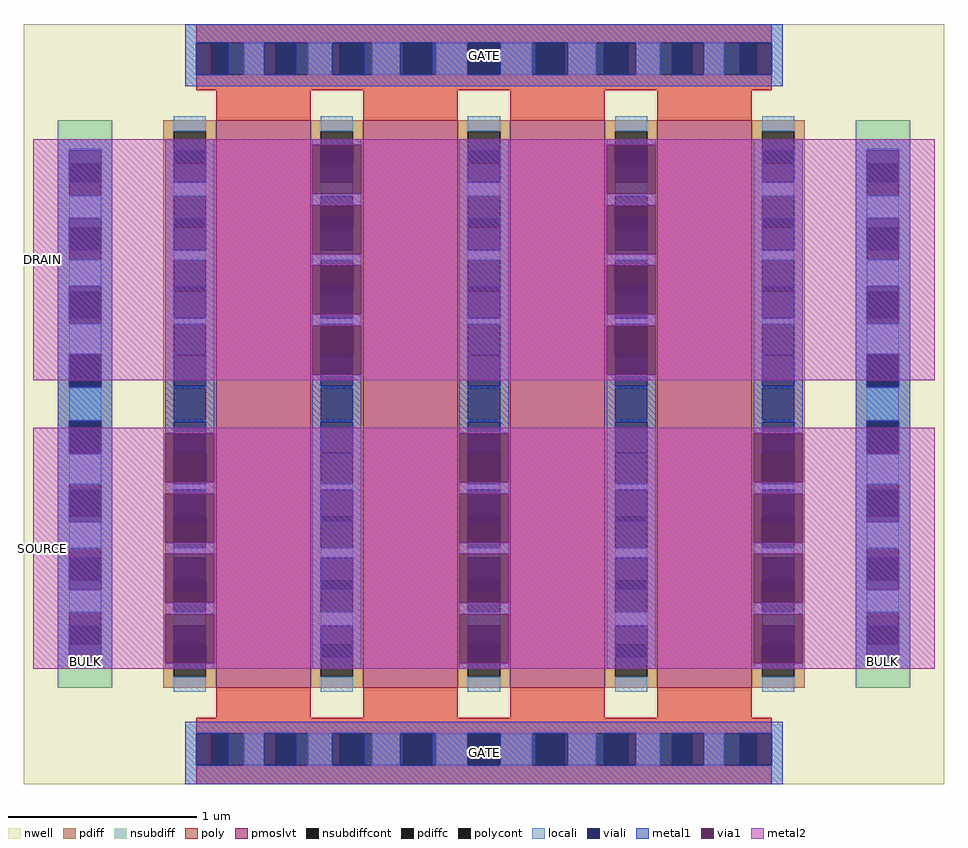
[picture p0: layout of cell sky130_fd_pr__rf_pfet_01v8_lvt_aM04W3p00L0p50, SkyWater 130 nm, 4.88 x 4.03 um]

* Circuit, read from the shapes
.subckt sky130_fd_pr__rf_pfet_01v8_lvt_aM04W3p00L0p50 BULK DRAIN GATE SOURCE
XM1 DRAIN GATE SOURCE BULK sky130_fd_pr__pfet_01v8_lvt w=3.01 l=0.5 m=4
.ends

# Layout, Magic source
magic
tech sky130A
magscale 1 2
<< nwell >>
rect 0 0 976 806
<< pmoslvt >>
rect 204 102 304 704
rect 360 102 460 704
rect 516 102 616 704
rect 672 102 772 704
<< pdiff >>
rect 148 692 204 704
rect 148 658 159 692
rect 193 658 204 692
rect 148 624 204 658
rect 148 590 159 624
rect 193 590 204 624
rect 148 556 204 590
rect 148 522 159 556
rect 193 522 204 556
rect 148 488 204 522
rect 148 454 159 488
rect 193 454 204 488
rect 148 420 204 454
rect 148 386 159 420
rect 193 386 204 420
rect 148 352 204 386
rect 148 318 159 352
rect 193 318 204 352
rect 148 284 204 318
rect 148 250 159 284
rect 193 250 204 284
rect 148 216 204 250
rect 148 182 159 216
rect 193 182 204 216
rect 148 148 204 182
rect 148 114 159 148
rect 193 114 204 148
rect 148 102 204 114
rect 304 692 360 704
rect 304 658 315 692
rect 349 658 360 692
rect 304 624 360 658
rect 304 590 315 624
rect 349 590 360 624
rect 304 556 360 590
rect 304 522 315 556
rect 349 522 360 556
rect 304 488 360 522
rect 304 454 315 488
rect 349 454 360 488
rect 304 420 360 454
rect 304 386 315 420
rect 349 386 360 420
rect 304 352 360 386
rect 304 318 315 352
rect 349 318 360 352
rect 304 284 360 318
rect 304 250 315 284
rect 349 250 360 284
rect 304 216 360 250
rect 304 182 315 216
rect 349 182 360 216
rect 304 148 360 182
rect 304 114 315 148
rect 349 114 360 148
rect 304 102 360 114
rect 460 692 516 704
rect 460 658 471 692
rect 505 658 516 692
rect 460 624 516 658
rect 460 590 471 624
rect 505 590 516 624
rect 460 556 516 590
rect 460 522 471 556
rect 505 522 516 556
rect 460 488 516 522
rect 460 454 471 488
rect 505 454 516 488
rect 460 420 516 454
rect 460 386 471 420
rect 505 386 516 420
rect 460 352 516 386
rect 460 318 471 352
rect 505 318 516 352
rect 460 284 516 318
rect 460 250 471 284
rect 505 250 516 284
rect 460 216 516 250
rect 460 182 471 216
rect 505 182 516 216
rect 460 148 516 182
rect 460 114 471 148
rect 505 114 516 148
rect 460 102 516 114
rect 616 692 672 704
rect 616 658 627 692
rect 661 658 672 692
rect 616 624 672 658
rect 616 590 627 624
rect 661 590 672 624
rect 616 556 672 590
rect 616 522 627 556
rect 661 522 672 556
rect 616 488 672 522
rect 616 454 627 488
rect 661 454 672 488
rect 616 420 672 454
rect 616 386 627 420
rect 661 386 672 420
rect 616 352 672 386
rect 616 318 627 352
rect 661 318 672 352
rect 616 284 672 318
rect 616 250 627 284
rect 661 250 672 284
rect 616 216 672 250
rect 616 182 627 216
rect 661 182 672 216
rect 616 148 672 182
rect 616 114 627 148
rect 661 114 672 148
rect 616 102 672 114
rect 772 692 828 704
rect 772 658 783 692
rect 817 658 828 692
rect 772 624 828 658
rect 772 590 783 624
rect 817 590 828 624
rect 772 556 828 590
rect 772 522 783 556
rect 817 522 828 556
rect 772 488 828 522
rect 772 454 783 488
rect 817 454 828 488
rect 772 420 828 454
rect 772 386 783 420
rect 817 386 828 420
rect 772 352 828 386
rect 772 318 783 352
rect 817 318 828 352
rect 772 284 828 318
rect 772 250 783 284
rect 817 250 828 284
rect 772 216 828 250
rect 772 182 783 216
rect 817 182 828 216
rect 772 148 828 182
rect 772 114 783 148
rect 817 114 828 148
rect 772 102 828 114
<< pdiffc >>
rect 159 658 193 692
rect 159 590 193 624
rect 159 522 193 556
rect 159 454 193 488
rect 159 386 193 420
rect 159 318 193 352
rect 159 250 193 284
rect 159 182 193 216
rect 159 114 193 148
rect 315 658 349 692
rect 315 590 349 624
rect 315 522 349 556
rect 315 454 349 488
rect 315 386 349 420
rect 315 318 349 352
rect 315 250 349 284
rect 315 182 349 216
rect 315 114 349 148
rect 471 658 505 692
rect 471 590 505 624
rect 471 522 505 556
rect 471 454 505 488
rect 471 386 505 420
rect 471 318 505 352
rect 471 250 505 284
rect 471 182 505 216
rect 471 114 505 148
rect 627 658 661 692
rect 627 590 661 624
rect 627 522 661 556
rect 627 454 661 488
rect 627 386 661 420
rect 627 318 661 352
rect 627 250 661 284
rect 627 182 661 216
rect 627 114 661 148
rect 783 658 817 692
rect 783 590 817 624
rect 783 522 817 556
rect 783 454 817 488
rect 783 386 817 420
rect 783 318 817 352
rect 783 250 817 284
rect 783 182 817 216
rect 783 114 817 148
<< nsubdiff >>
rect 36 658 94 704
rect 36 624 48 658
rect 82 624 94 658
rect 36 590 94 624
rect 36 556 48 590
rect 82 556 94 590
rect 36 522 94 556
rect 36 488 48 522
rect 82 488 94 522
rect 36 454 94 488
rect 36 420 48 454
rect 82 420 94 454
rect 36 386 94 420
rect 36 352 48 386
rect 82 352 94 386
rect 36 318 94 352
rect 36 284 48 318
rect 82 284 94 318
rect 36 250 94 284
rect 36 216 48 250
rect 82 216 94 250
rect 36 182 94 216
rect 36 148 48 182
rect 82 148 94 182
rect 36 102 94 148
rect 882 658 940 704
rect 882 624 894 658
rect 928 624 940 658
rect 882 590 940 624
rect 882 556 894 590
rect 928 556 940 590
rect 882 522 940 556
rect 882 488 894 522
rect 928 488 940 522
rect 882 454 940 488
rect 882 420 894 454
rect 928 420 940 454
rect 882 386 940 420
rect 882 352 894 386
rect 928 352 940 386
rect 882 318 940 352
rect 882 284 894 318
rect 928 284 940 318
rect 882 250 940 284
rect 882 216 894 250
rect 928 216 940 250
rect 882 182 940 216
rect 882 148 894 182
rect 928 148 940 182
rect 882 102 940 148
<< nsubdiffcont >>
rect 48 624 82 658
rect 48 556 82 590
rect 48 488 82 522
rect 48 420 82 454
rect 48 352 82 386
rect 48 284 82 318
rect 48 216 82 250
rect 48 148 82 182
rect 894 624 928 658
rect 894 556 928 590
rect 894 488 928 522
rect 894 420 928 454
rect 894 352 928 386
rect 894 284 928 318
rect 894 216 928 250
rect 894 148 928 182
<< poly >>
rect 183 786 793 806
rect 183 752 199 786
rect 233 752 267 786
rect 301 752 335 786
rect 369 752 403 786
rect 437 752 471 786
rect 505 752 539 786
rect 573 752 607 786
rect 641 752 675 786
rect 709 752 743 786
rect 777 752 793 786
rect 183 736 793 752
rect 204 704 304 736
rect 360 704 460 736
rect 516 704 616 736
rect 672 704 772 736
rect 204 70 304 102
rect 360 70 460 102
rect 516 70 616 102
rect 672 70 772 102
rect 183 54 793 70
rect 183 20 199 54
rect 233 20 267 54
rect 301 20 335 54
rect 369 20 403 54
rect 437 20 471 54
rect 505 20 539 54
rect 573 20 607 54
rect 641 20 675 54
rect 709 20 743 54
rect 777 20 793 54
rect 183 0 793 20
<< polycont >>
rect 199 752 233 786
rect 267 752 301 786
rect 335 752 369 786
rect 403 752 437 786
rect 471 752 505 786
rect 539 752 573 786
rect 607 752 641 786
rect 675 752 709 786
rect 743 752 777 786
rect 199 20 233 54
rect 267 20 301 54
rect 335 20 369 54
rect 403 20 437 54
rect 471 20 505 54
rect 539 20 573 54
rect 607 20 641 54
rect 675 20 709 54
rect 743 20 777 54
<< locali >>
rect 233 752 255 786
rect 301 752 327 786
rect 369 752 399 786
rect 437 752 471 786
rect 505 752 539 786
rect 577 752 607 786
rect 649 752 675 786
rect 721 752 743 786
rect 159 692 193 708
rect 48 672 82 674
rect 48 600 82 624
rect 48 528 82 556
rect 48 456 82 488
rect 48 386 82 420
rect 48 318 82 350
rect 48 250 82 278
rect 48 182 82 206
rect 48 132 82 134
rect 159 624 193 638
rect 159 556 193 566
rect 159 488 193 494
rect 159 420 193 422
rect 159 384 193 386
rect 159 312 193 318
rect 159 240 193 250
rect 159 168 193 182
rect 159 98 193 114
rect 315 692 349 708
rect 315 624 349 638
rect 315 556 349 566
rect 315 488 349 494
rect 315 420 349 422
rect 315 384 349 386
rect 315 312 349 318
rect 315 240 349 250
rect 315 168 349 182
rect 315 98 349 114
rect 471 692 505 708
rect 471 624 505 638
rect 471 556 505 566
rect 471 488 505 494
rect 471 420 505 422
rect 471 384 505 386
rect 471 312 505 318
rect 471 240 505 250
rect 471 168 505 182
rect 471 98 505 114
rect 627 692 661 708
rect 627 624 661 638
rect 627 556 661 566
rect 627 488 661 494
rect 627 420 661 422
rect 627 384 661 386
rect 627 312 661 318
rect 627 240 661 250
rect 627 168 661 182
rect 627 98 661 114
rect 783 692 817 708
rect 783 624 817 638
rect 783 556 817 566
rect 783 488 817 494
rect 783 420 817 422
rect 783 384 817 386
rect 783 312 817 318
rect 783 240 817 250
rect 783 168 817 182
rect 894 672 928 674
rect 894 600 928 624
rect 894 528 928 556
rect 894 456 928 488
rect 894 386 928 420
rect 894 318 928 350
rect 894 250 928 278
rect 894 182 928 206
rect 894 132 928 134
rect 783 98 817 114
rect 233 20 255 54
rect 301 20 327 54
rect 369 20 399 54
rect 437 20 471 54
rect 505 20 539 54
rect 577 20 607 54
rect 649 20 675 54
rect 721 20 743 54
<< viali >>
rect 183 752 199 786
rect 199 752 217 786
rect 255 752 267 786
rect 267 752 289 786
rect 327 752 335 786
rect 335 752 361 786
rect 399 752 403 786
rect 403 752 433 786
rect 471 752 505 786
rect 543 752 573 786
rect 573 752 577 786
rect 615 752 641 786
rect 641 752 649 786
rect 687 752 709 786
rect 709 752 721 786
rect 759 752 777 786
rect 777 752 793 786
rect 48 658 82 672
rect 48 638 82 658
rect 48 590 82 600
rect 48 566 82 590
rect 48 522 82 528
rect 48 494 82 522
rect 48 454 82 456
rect 48 422 82 454
rect 48 352 82 384
rect 48 350 82 352
rect 48 284 82 312
rect 48 278 82 284
rect 48 216 82 240
rect 48 206 82 216
rect 48 148 82 168
rect 48 134 82 148
rect 159 658 193 672
rect 159 638 193 658
rect 159 590 193 600
rect 159 566 193 590
rect 159 522 193 528
rect 159 494 193 522
rect 159 454 193 456
rect 159 422 193 454
rect 159 352 193 384
rect 159 350 193 352
rect 159 284 193 312
rect 159 278 193 284
rect 159 216 193 240
rect 159 206 193 216
rect 159 148 193 168
rect 159 134 193 148
rect 315 658 349 672
rect 315 638 349 658
rect 315 590 349 600
rect 315 566 349 590
rect 315 522 349 528
rect 315 494 349 522
rect 315 454 349 456
rect 315 422 349 454
rect 315 352 349 384
rect 315 350 349 352
rect 315 284 349 312
rect 315 278 349 284
rect 315 216 349 240
rect 315 206 349 216
rect 315 148 349 168
rect 315 134 349 148
rect 471 658 505 672
rect 471 638 505 658
rect 471 590 505 600
rect 471 566 505 590
rect 471 522 505 528
rect 471 494 505 522
rect 471 454 505 456
rect 471 422 505 454
rect 471 352 505 384
rect 471 350 505 352
rect 471 284 505 312
rect 471 278 505 284
rect 471 216 505 240
rect 471 206 505 216
rect 471 148 505 168
rect 471 134 505 148
rect 627 658 661 672
rect 627 638 661 658
rect 627 590 661 600
rect 627 566 661 590
rect 627 522 661 528
rect 627 494 661 522
rect 627 454 661 456
rect 627 422 661 454
rect 627 352 661 384
rect 627 350 661 352
rect 627 284 661 312
rect 627 278 661 284
rect 627 216 661 240
rect 627 206 661 216
rect 627 148 661 168
rect 627 134 661 148
rect 783 658 817 672
rect 783 638 817 658
rect 783 590 817 600
rect 783 566 817 590
rect 783 522 817 528
rect 783 494 817 522
rect 783 454 817 456
rect 783 422 817 454
rect 783 352 817 384
rect 783 350 817 352
rect 783 284 817 312
rect 783 278 817 284
rect 783 216 817 240
rect 783 206 817 216
rect 783 148 817 168
rect 783 134 817 148
rect 894 658 928 672
rect 894 638 928 658
rect 894 590 928 600
rect 894 566 928 590
rect 894 522 928 528
rect 894 494 928 522
rect 894 454 928 456
rect 894 422 928 454
rect 894 352 928 384
rect 894 350 928 352
rect 894 284 928 312
rect 894 278 928 284
rect 894 216 928 240
rect 894 206 928 216
rect 894 148 928 168
rect 894 134 928 148
rect 183 20 199 54
rect 199 20 217 54
rect 255 20 267 54
rect 267 20 289 54
rect 327 20 335 54
rect 335 20 361 54
rect 399 20 403 54
rect 403 20 433 54
rect 471 20 505 54
rect 543 20 573 54
rect 573 20 577 54
rect 615 20 641 54
rect 641 20 649 54
rect 687 20 709 54
rect 709 20 721 54
rect 759 20 777 54
rect 777 20 793 54
<< metal1 >>
rect 171 786 805 806
rect 171 752 183 786
rect 217 752 255 786
rect 289 752 327 786
rect 361 752 399 786
rect 433 752 471 786
rect 505 752 543 786
rect 577 752 615 786
rect 649 752 687 786
rect 721 752 759 786
rect 793 752 805 786
rect 171 740 805 752
rect 36 672 94 684
rect 36 638 48 672
rect 82 638 94 672
rect 36 600 94 638
rect 36 566 48 600
rect 82 566 94 600
rect 36 528 94 566
rect 36 494 48 528
rect 82 494 94 528
rect 36 456 94 494
rect 36 422 48 456
rect 82 422 94 456
rect 36 384 94 422
rect 36 350 48 384
rect 82 350 94 384
rect 36 312 94 350
rect 36 278 48 312
rect 82 278 94 312
rect 36 240 94 278
rect 36 206 48 240
rect 82 206 94 240
rect 36 168 94 206
rect 36 134 48 168
rect 82 134 94 168
rect 36 122 94 134
rect 150 672 202 684
rect 150 638 159 672
rect 193 638 202 672
rect 150 600 202 638
rect 150 566 159 600
rect 193 566 202 600
rect 150 528 202 566
rect 150 494 159 528
rect 193 494 202 528
rect 150 456 202 494
rect 150 422 159 456
rect 193 422 202 456
rect 150 384 202 422
rect 150 372 159 384
rect 193 372 202 384
rect 150 312 202 320
rect 150 308 159 312
rect 193 308 202 312
rect 150 244 202 256
rect 150 180 202 192
rect 150 122 202 128
rect 306 678 358 684
rect 306 614 358 626
rect 306 550 358 562
rect 306 494 315 498
rect 349 494 358 498
rect 306 486 358 494
rect 306 422 315 434
rect 349 422 358 434
rect 306 384 358 422
rect 306 350 315 384
rect 349 350 358 384
rect 306 312 358 350
rect 306 278 315 312
rect 349 278 358 312
rect 306 240 358 278
rect 306 206 315 240
rect 349 206 358 240
rect 306 168 358 206
rect 306 134 315 168
rect 349 134 358 168
rect 306 122 358 134
rect 462 672 514 684
rect 462 638 471 672
rect 505 638 514 672
rect 462 600 514 638
rect 462 566 471 600
rect 505 566 514 600
rect 462 528 514 566
rect 462 494 471 528
rect 505 494 514 528
rect 462 456 514 494
rect 462 422 471 456
rect 505 422 514 456
rect 462 384 514 422
rect 462 372 471 384
rect 505 372 514 384
rect 462 312 514 320
rect 462 308 471 312
rect 505 308 514 312
rect 462 244 514 256
rect 462 180 514 192
rect 462 122 514 128
rect 618 678 670 684
rect 618 614 670 626
rect 618 550 670 562
rect 618 494 627 498
rect 661 494 670 498
rect 618 486 670 494
rect 618 422 627 434
rect 661 422 670 434
rect 618 384 670 422
rect 618 350 627 384
rect 661 350 670 384
rect 618 312 670 350
rect 618 278 627 312
rect 661 278 670 312
rect 618 240 670 278
rect 618 206 627 240
rect 661 206 670 240
rect 618 168 670 206
rect 618 134 627 168
rect 661 134 670 168
rect 618 122 670 134
rect 774 672 826 684
rect 774 638 783 672
rect 817 638 826 672
rect 774 600 826 638
rect 774 566 783 600
rect 817 566 826 600
rect 774 528 826 566
rect 774 494 783 528
rect 817 494 826 528
rect 774 456 826 494
rect 774 422 783 456
rect 817 422 826 456
rect 774 384 826 422
rect 774 372 783 384
rect 817 372 826 384
rect 774 312 826 320
rect 774 308 783 312
rect 817 308 826 312
rect 774 244 826 256
rect 774 180 826 192
rect 774 122 826 128
rect 882 672 940 684
rect 882 638 894 672
rect 928 638 940 672
rect 882 600 940 638
rect 882 566 894 600
rect 928 566 940 600
rect 882 528 940 566
rect 882 494 894 528
rect 928 494 940 528
rect 882 456 940 494
rect 882 422 894 456
rect 928 422 940 456
rect 882 384 940 422
rect 882 350 894 384
rect 928 350 940 384
rect 882 312 940 350
rect 882 278 894 312
rect 928 278 940 312
rect 882 240 940 278
rect 882 206 894 240
rect 928 206 940 240
rect 882 168 940 206
rect 882 134 894 168
rect 928 134 940 168
rect 882 122 940 134
rect 171 54 805 66
rect 171 20 183 54
rect 217 20 255 54
rect 289 20 327 54
rect 361 20 399 54
rect 433 20 471 54
rect 505 20 543 54
rect 577 20 615 54
rect 649 20 687 54
rect 721 20 759 54
rect 793 20 805 54
rect 171 0 805 20
<< via1 >>
rect 150 350 159 372
rect 159 350 193 372
rect 193 350 202 372
rect 150 320 202 350
rect 150 278 159 308
rect 159 278 193 308
rect 193 278 202 308
rect 150 256 202 278
rect 150 240 202 244
rect 150 206 159 240
rect 159 206 193 240
rect 193 206 202 240
rect 150 192 202 206
rect 150 168 202 180
rect 150 134 159 168
rect 159 134 193 168
rect 193 134 202 168
rect 150 128 202 134
rect 306 672 358 678
rect 306 638 315 672
rect 315 638 349 672
rect 349 638 358 672
rect 306 626 358 638
rect 306 600 358 614
rect 306 566 315 600
rect 315 566 349 600
rect 349 566 358 600
rect 306 562 358 566
rect 306 528 358 550
rect 306 498 315 528
rect 315 498 349 528
rect 349 498 358 528
rect 306 456 358 486
rect 306 434 315 456
rect 315 434 349 456
rect 349 434 358 456
rect 462 350 471 372
rect 471 350 505 372
rect 505 350 514 372
rect 462 320 514 350
rect 462 278 471 308
rect 471 278 505 308
rect 505 278 514 308
rect 462 256 514 278
rect 462 240 514 244
rect 462 206 471 240
rect 471 206 505 240
rect 505 206 514 240
rect 462 192 514 206
rect 462 168 514 180
rect 462 134 471 168
rect 471 134 505 168
rect 505 134 514 168
rect 462 128 514 134
rect 618 672 670 678
rect 618 638 627 672
rect 627 638 661 672
rect 661 638 670 672
rect 618 626 670 638
rect 618 600 670 614
rect 618 566 627 600
rect 627 566 661 600
rect 661 566 670 600
rect 618 562 670 566
rect 618 528 670 550
rect 618 498 627 528
rect 627 498 661 528
rect 661 498 670 528
rect 618 456 670 486
rect 618 434 627 456
rect 627 434 661 456
rect 661 434 670 456
rect 774 350 783 372
rect 783 350 817 372
rect 817 350 826 372
rect 774 320 826 350
rect 774 278 783 308
rect 783 278 817 308
rect 817 278 826 308
rect 774 256 826 278
rect 774 240 826 244
rect 774 206 783 240
rect 783 206 817 240
rect 817 206 826 240
rect 774 192 826 206
rect 774 168 826 180
rect 774 134 783 168
rect 783 134 817 168
rect 817 134 826 168
rect 774 128 826 134
<< metal2 >>
rect 10 678 966 684
rect 10 626 306 678
rect 358 626 618 678
rect 670 626 966 678
rect 10 614 966 626
rect 10 562 306 614
rect 358 562 618 614
rect 670 562 966 614
rect 10 550 966 562
rect 10 498 306 550
rect 358 498 618 550
rect 670 498 966 550
rect 10 486 966 498
rect 10 434 306 486
rect 358 434 618 486
rect 670 434 966 486
rect 10 428 966 434
rect 10 372 966 378
rect 10 320 150 372
rect 202 320 462 372
rect 514 320 774 372
rect 826 320 966 372
rect 10 308 966 320
rect 10 256 150 308
rect 202 256 462 308
rect 514 256 774 308
rect 826 256 966 308
rect 10 244 966 256
rect 10 192 150 244
rect 202 192 462 244
rect 514 192 774 244
rect 826 192 966 244
rect 10 180 966 192
rect 10 128 150 180
rect 202 128 462 180
rect 514 128 774 180
rect 826 128 966 180
rect 10 122 966 128
<< labels >>
flabel metal2 s 10 428 30 684 7 FreeSans 300 180 0 0 DRAIN
port 2 nsew
flabel metal2 s 10 122 30 378 7 FreeSans 300 180 0 0 SOURCE
port 4 nsew
flabel metal1 s 882 122 940 138 3 FreeSans 300 90 0 0 BULK
port 1 nsew
flabel metal1 s 36 122 94 138 3 FreeSans 300 90 0 0 BULK
port 1 nsew
flabel metal1 s 171 0 805 66 0 FreeSans 300 0 0 0 GATE
port 3 nsew
flabel metal1 s 171 740 805 806 0 FreeSans 300 0 0 0 GATE
port 3 nsew
<< properties >>
string GDS_FILE $PDKPATH/libs.ref/sky130_fd_pr/gds/sky130_fd_pr.gds
string GDS_END 10021118
string GDS_START 10005102
<< end >>
